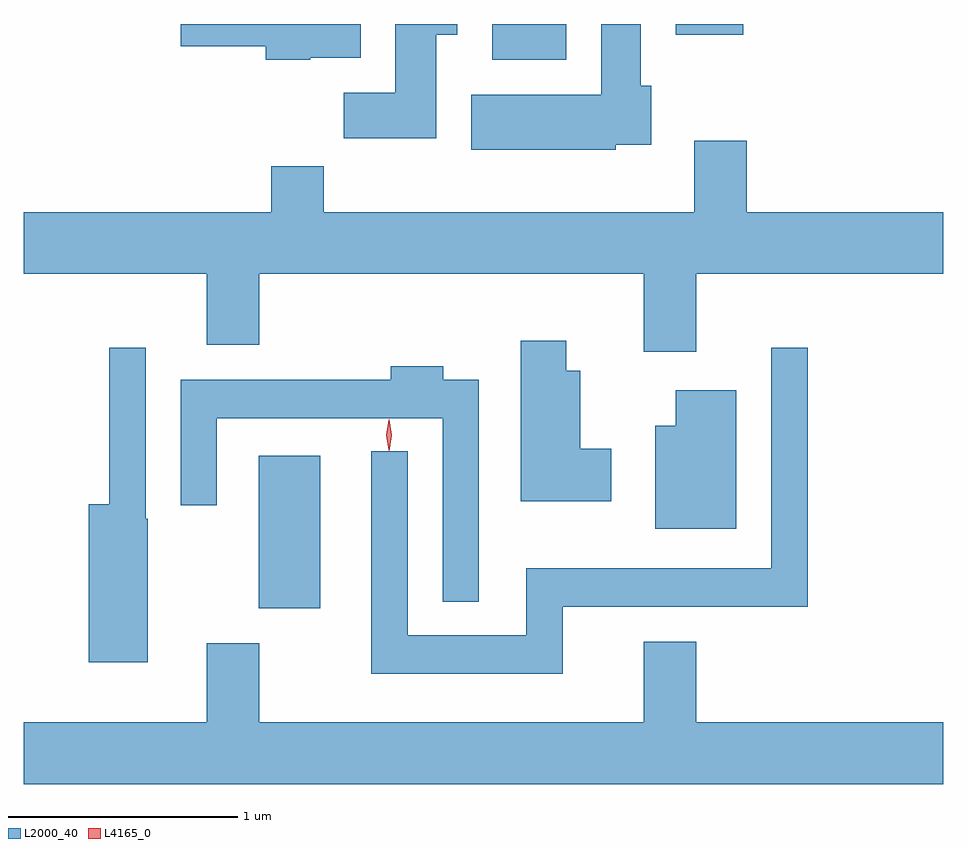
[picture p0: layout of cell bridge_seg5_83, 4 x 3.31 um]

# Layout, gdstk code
import gdstk
lib = gdstk.Library(unit=1e-6, precision=1e-09)
def R(c, l, rs):  # rectangles x0, y0, x1, y1
    for r in rs: c.add(gdstk.rectangle(r[:2], r[2:], *l))
def P(c, l, *ps):  # polygons
    for p in ps: c.add(gdstk.Polygon(p, *l))
L2000_40 = (2000, 40)
L4165_0 = (4165, 0)

bridge_seg5_83 = lib.new_cell('bridge_seg5_83')
R(bridge_seg5_83, L2000_40, [(1219.446,1479.761,1219.714,1480.424), (1220.461,1482.146,1220.784,1482.302), (1221.261,1482.256,1221.554,1482.302)])
P(bridge_seg5_83, L2000_40, [(1220.999,1481.776),(1221.154,1481.776),(1221.154,1482.034),(1221.109,1482.034),(1221.109,1482.302),(1220.936,1482.302),(1220.936,1481.994),(1220.371,1481.994),(1220.371,1481.756),(1220.999,1481.756)],
  [(1219.67,1482.156),(1219.889,1482.156),(1219.889,1482.302),(1219.106,1482.302),(1219.106,1482.206),(1219.476,1482.206),(1219.476,1482.146),(1219.67,1482.146)],
  [(1220.219,1482.256),(1220.309,1482.256),(1220.309,1482.302),(1220.041,1482.302),(1220.041,1482.004),(1219.816,1482.004),(1219.816,1481.806),(1220.219,1481.806)],
  [(1221.349,1481.216),(1222.424,1481.216),(1222.424,1481.484),(1221.569,1481.484),(1221.569,1481.794),(1221.341,1481.794),(1221.341,1481.484),(1219.729,1481.484),(1219.729,1481.684),(1219.501,1481.684),(1219.501,1481.484),(1218.424,1481.484),(1218.424,1481.216),(1219.221,1481.216),(1219.221,1480.906),(1219.449,1480.906),(1219.449,1481.216),(1221.121,1481.216),(1221.121,1480.876),(1221.349,1480.876)],
  [(1220.979,1480.454),(1220.844,1480.454),(1220.844,1480.794),(1220.784,1480.794),(1220.784,1480.924),(1220.586,1480.924),(1220.586,1480.226),(1220.979,1480.226)],
  [(1220.769,1479.766),(1221.834,1479.766),(1221.834,1480.893),(1221.676,1480.893),(1221.676,1479.934),(1220.611,1479.934),(1220.611,1479.644),(1220.094,1479.644),(1220.094,1480.443),(1219.936,1480.443),(1219.936,1479.476),(1220.769,1479.476)],
  [(1218.964,1480.15),(1218.954,1480.15),(1218.954,1480.893),(1218.796,1480.893),(1218.796,1480.214),(1218.706,1480.214),(1218.706,1479.526),(1218.964,1479.526)],
  [(1220.404,1480.754),(1220.249,1480.754),(1220.249,1480.814),(1220.021,1480.814),(1220.021,1480.754),(1219.106,1480.754),(1219.106,1480.208),(1219.264,1480.208),(1219.264,1480.586),(1220.246,1480.586),(1220.246,1479.788),(1220.404,1479.788)],
  [(1221.524,1480.709),(1221.261,1480.709),(1221.261,1480.554),(1221.171,1480.554),(1221.171,1480.106),(1221.524,1480.106)],
  [(1222.424,1479.264),(1221.349,1479.264),(1221.349,1479.614),(1221.121,1479.614),(1221.121,1479.264),(1219.449,1479.264),(1219.449,1479.609),(1219.221,1479.609),(1219.221,1479.264),(1218.424,1479.264),(1218.424,1478.996),(1222.424,1478.996)])
P(bridge_seg5_83, L4165_0, [(1220.011,1480.447),(1220.002,1480.514),(1220.011,1480.58),(1220.012,1480.58),(1220.012,1480.58),(1220.022,1480.514),(1220.012,1480.447),(1220.012,1480.447)],
  [(1220.014,1480.444),(1220.014,1480.444),(1220.004,1480.513),(1220.014,1480.582),(1220.014,1480.583),(1220.015,1480.582),(1220.024,1480.513),(1220.015,1480.444)])

lib.write_gds('bridge_seg5_83.gds')
